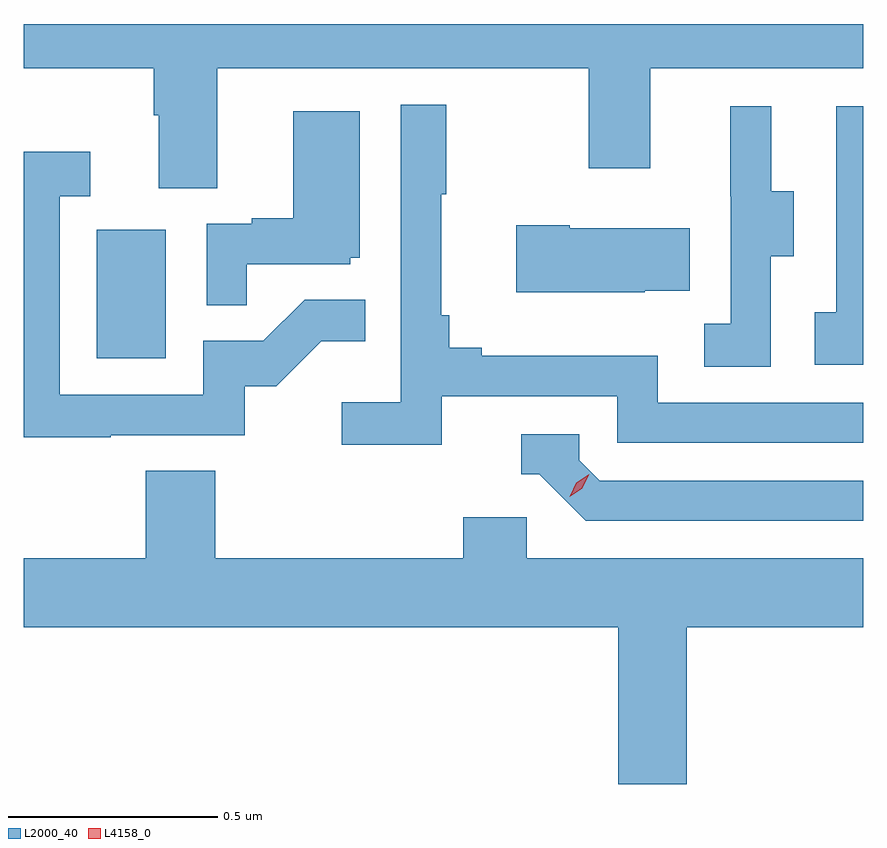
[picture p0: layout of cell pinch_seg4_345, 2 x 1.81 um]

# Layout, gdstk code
import gdstk
lib = gdstk.Library(unit=1e-6, precision=1e-09)
def R(c, l, rs):  # rectangles x0, y0, x1, y1
    for r in rs: c.add(gdstk.rectangle(r[:2], r[2:], *l))
def P(c, l, *ps):  # polygons
    for p in ps: c.add(gdstk.Polygon(p, *l))
L2000_40 = (2000, 40)
L4158_0 = (4158, 0)

pinch_seg4_345 = lib.new_cell('pinch_seg4_345')
R(pinch_seg4_345, L2000_40, [(1014.914,808.116,1015.078,808.423)])
P(pinch_seg4_345, L2000_40, [(1015.201,808.808),(1016.086,808.808),(1016.086,808.569),(1016.233,808.569),(1016.233,808.808),(1016.74,808.808),(1016.74,808.913),(1014.74,808.913),(1014.74,808.808),(1015.049,808.808),(1015.049,808.696),(1015.061,808.696),(1015.061,808.522),(1015.201,808.522)],
  [(1015.736,808.026),(1016.154,808.026),(1016.154,807.915),(1016.74,807.915),(1016.74,808.011),(1016.25,808.011),(1016.25,808.123),(1015.831,808.123),(1015.831,808.142),(1015.754,808.142),(1015.754,808.219),(1015.735,808.219),(1015.735,808.507),(1015.747,808.507),(1015.747,808.72),(1015.638,808.72),(1015.638,808.012),(1015.497,808.012),(1015.497,807.91),(1015.736,807.91)],
  [(1016.74,808.717),(1016.676,808.717),(1016.676,808.226),(1016.625,808.226),(1016.625,808.101),(1016.74,808.101)],
  [(1016.52,808.36),(1016.575,808.36),(1016.575,808.515),(1016.521,808.515),(1016.521,808.717),(1016.423,808.717),(1016.423,808.503),(1016.424,808.503),(1016.424,808.199),(1016.361,808.199),(1016.361,808.096),(1016.52,808.096)],
  [(1015.271,808.341),(1015.518,808.341),(1015.518,808.356),(1015.54,808.356),(1015.54,808.705),(1015.382,808.705),(1015.382,808.45),(1015.283,808.45),(1015.283,808.437),(1015.176,808.437),(1015.176,808.243),(1015.271,808.243)],
  [(1014.947,807.933),(1015.266,807.933),(1015.266,808.05),(1015.342,808.05),(1015.449,808.157),(1015.553,808.157),(1015.553,808.256),(1015.409,808.256),(1015.311,808.158),(1015.167,808.158),(1015.167,808.029),(1014.825,808.029),(1014.825,808.503),(1014.898,808.503),(1014.898,808.609),(1014.74,808.609),(1014.74,807.928),(1014.947,807.928)],
  [(1016.219,808.277),(1016.327,808.277),(1016.327,808.426),(1016.041,808.426),(1016.041,808.434),(1015.913,808.434),(1015.913,808.274),(1016.219,808.274)],
  [(1016.74,807.825),(1016.112,807.825),(1016.064,807.873),(1016.064,807.936),(1015.925,807.936),(1015.925,807.84),(1015.968,807.84),(1016.079,807.729),(1016.74,807.729)],
  [(1016.32,807.476),(1016.74,807.476),(1016.74,807.64),(1015.938,807.64),(1015.938,807.738),(1015.787,807.738),(1015.787,807.64),(1015.196,807.64),(1015.196,807.848),(1015.031,807.848),(1015.031,807.64),(1014.74,807.64),(1014.74,807.476),(1016.156,807.476),(1016.156,807.102),(1016.32,807.102)])
P(pinch_seg4_345, L4158_0, [(1016.041,807.787),(1016.041,807.787),(1016.056,807.82),(1016.087,807.84),(1016.087,807.84),(1016.087,807.84),(1016.071,807.807),(1016.041,807.787)])

lib.write_gds('pinch_seg4_345.gds')
